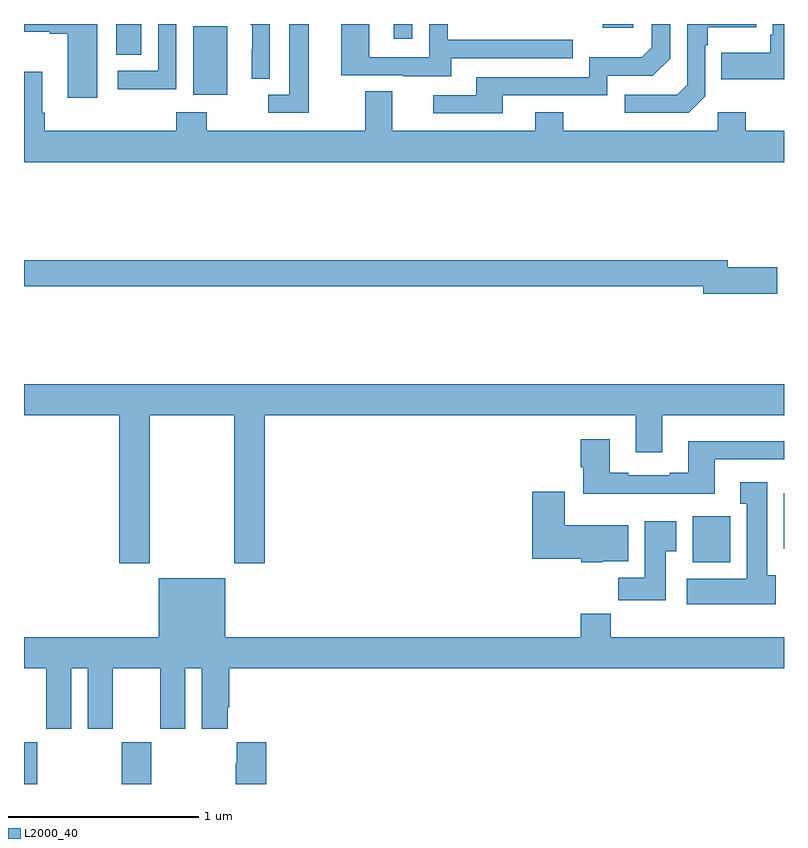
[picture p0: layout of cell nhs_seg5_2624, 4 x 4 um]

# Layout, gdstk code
import gdstk
lib = gdstk.Library(unit=1e-6, precision=1e-09)
def R(c, l, rs):  # rectangles x0, y0, x1, y1
    for r in rs: c.add(gdstk.rectangle(r[:2], r[2:], *l))
def P(c, l, *ps):  # polygons
    for p in ps: c.add(gdstk.Polygon(p, *l))
L2000_40 = (2000, 40)

nhs_seg5_2624 = lib.new_cell('nhs_seg5_2624')
R(nhs_seg5_2624, L2000_40, [(263,874.799,263.07,875.02), (263.515,874.799,263.67,875.02), (266.519,875.966,266.716,876.208), (266.999,876.036,267,876.328), (263.891,878.426,264.07,878.787), (263.486,878.638,263.617,878.799), (264.947,878.721,265.044,878.799), (266.045,878.78,266.206,878.799)])
P(nhs_seg5_2624, L2000_40, [(265.519,878.424),(266.07,878.424),(266.07,878.526),(266.31,878.526),(266.4,878.616),(266.4,878.799),(266.304,878.799),(266.304,878.676),(266.251,878.623),(265.974,878.623),(265.974,878.52),(265.379,878.52),(265.379,878.424),(265.155,878.424),(265.155,878.328),(265.519,878.328)],
  [(265.249,878.619),(265.889,878.619),(265.889,878.715),(265.23,878.715),(265.23,878.799),(265.134,878.799),(265.134,878.625),(264.816,878.625),(264.816,878.799),(264.671,878.799),(264.671,878.529),(264.995,878.529),(264.995,878.525),(265.249,878.525)],
  [(264.499,878.799),(264.395,878.799),(264.395,878.427),(264.285,878.427),(264.285,878.331),(264.499,878.331)],
  [(264.294,878.799),(264.19,878.799),(264.2,878.789),(264.2,878.666),(264.198,878.666),(264.198,878.512),(264.294,878.512)],
  [(263.802,878.799),(263.706,878.799),(263.706,878.553),(263.493,878.553),(263.493,878.455),(263.802,878.455)],
  [(263.386,878.799),(263,878.799),(263,878.759),(263.135,878.759),(263.135,878.747),(263.231,878.747),(263.231,878.412),(263.386,878.412)],
  [(267,878.799),(266.94,878.799),(266.94,878.743),(266.928,878.743),(266.928,878.647),(266.671,878.647),(266.671,878.507),(267,878.507)],
  [(266.586,878.418),(266.586,878.687),(266.599,878.687),(266.599,878.783),(266.855,878.783),(266.855,878.799),(266.49,878.799),(266.49,878.478),(266.439,878.427),(266.163,878.427),(266.163,878.331),(266.499,878.331)],
  [(267,878.236),(266.799,878.236),(266.799,878.335),(266.652,878.335),(266.652,878.236),(265.839,878.236),(265.839,878.335),(265.691,878.335),(265.691,878.236),(264.937,878.236),(264.937,878.444),(264.797,878.444),(264.797,878.236),(263.961,878.236),(263.961,878.335),(263.801,878.335),(263.801,878.236),(263.108,878.236),(263.108,878.332),(263.095,878.332),(263.095,878.548),(263,878.548),(263,878.072),(267,878.072)],
  [(266.965,877.52),(266.704,877.52),(266.704,877.556),(263,877.556),(263,877.42),(266.576,877.42),(266.576,877.378),(266.965,877.378)],
  [(263.661,876.74),(264.106,876.74),(264.106,875.961),(264.266,875.961),(264.266,876.74),(266.219,876.74),(266.219,876.546),(266.359,876.546),(266.359,876.74),(267,876.74),(267,876.904),(263,876.904),(263,876.74),(263.501,876.74),(263.501,875.961),(263.661,875.961)],
  [(266.635,876.507),(267,876.507),(267,876.604),(266.495,876.604),(266.495,876.436),(266.399,876.436),(266.399,876.423),(266.179,876.423),(266.179,876.436),(266.083,876.436),(266.083,876.613),(265.931,876.613),(265.931,876.465),(265.943,876.465),(265.943,876.326),(266.635,876.326)],
  [(266.956,875.898),(266.911,875.898),(266.911,876.388),(266.771,876.388),(266.771,876.275),(266.804,876.275),(266.804,875.878),(266.487,875.878),(266.487,875.744),(266.956,875.744)],
  [(266.046,875.972),(266.179,875.972),(266.179,876.16),(265.846,876.16),(265.846,876.337),(265.676,876.337),(265.676,875.984),(265.932,875.984),(265.932,875.966),(266.046,875.966)],
  [(266.377,876.025),(266.434,876.025),(266.434,876.181),(266.267,876.181),(266.267,875.884),(266.128,875.884),(266.128,875.766),(266.377,875.766)],
  [(263.248,875.408),(263.336,875.408),(263.336,875.091),(263.467,875.091),(263.467,875.408),(263.717,875.408),(263.717,875.091),(263.848,875.091),(263.848,875.408),(263.936,875.408),(263.936,875.091),(264.073,875.091),(264.073,875.203),(264.08,875.203),(264.08,875.408),(267,875.408),(267,875.572),(266.087,875.572),(266.087,875.696),(265.931,875.696),(265.931,875.572),(264.058,875.572),(264.058,875.881),(263.708,875.881),(263.708,875.572),(263,875.572),(263,875.408),(263.117,875.408),(263.117,875.091),(263.248,875.091)],
  [(264.275,875.02),(264.119,875.02),(264.119,874.907),(264.115,874.907),(264.115,874.799),(264.275,874.799)])

lib.write_gds('nhs_seg5_2624.gds')
